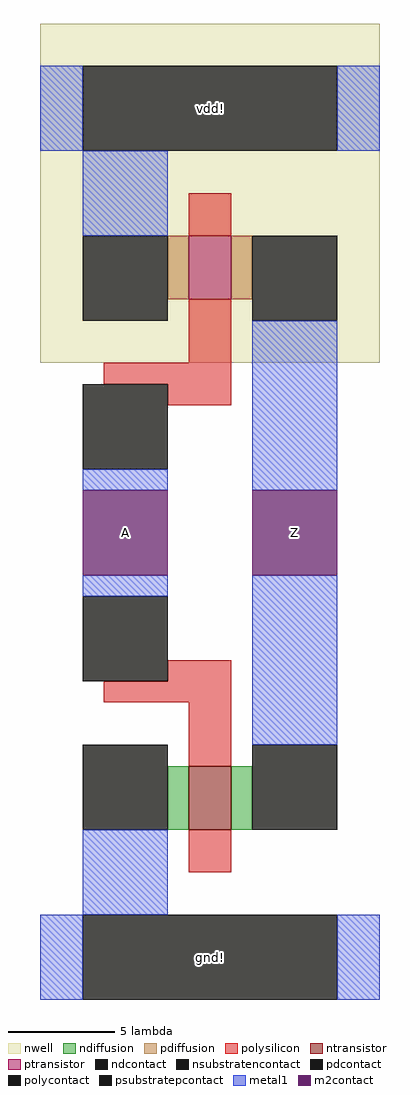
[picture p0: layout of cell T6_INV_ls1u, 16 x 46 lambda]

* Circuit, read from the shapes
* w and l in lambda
.subckt T6_INV_ls1u A Z gnd! vdd!
M1 Z A gnd! gnd! nfet w=3 l=2
M2 Z A vdd! vdd! pfet w=3 l=2
.ends

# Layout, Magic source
magic
tech ls1u
<< nwell >>
rect 0 32 16 48
<< polysilicon >>
rect 7 38 9 40
rect 7 32 9 35
rect 3 31 9 32
rect 6 30 9 31
rect 6 17 9 18
rect 3 16 9 17
rect 7 13 9 16
rect 7 8 9 10
<< ndiffusion >>
rect 6 10 7 13
rect 9 10 10 13
<< pdiffusion >>
rect 6 35 7 38
rect 9 35 10 38
<< metal1 >>
rect 0 42 2 46
rect 14 42 16 46
rect 2 38 6 42
rect 2 26 6 27
rect 2 21 6 22
rect 10 26 14 34
rect 10 14 14 22
rect 2 6 6 10
rect 0 2 2 6
rect 14 2 16 6
<< ntransistor >>
rect 7 10 9 13
<< ptransistor >>
rect 7 35 9 38
<< polycontact >>
rect 2 27 6 31
rect 2 17 6 21
<< ndcontact >>
rect 2 10 6 14
rect 10 10 14 14
<< pdcontact >>
rect 2 34 6 38
rect 10 34 14 38
<< m2contact >>
rect 2 22 6 26
rect 10 22 14 26
<< psubstratepcontact >>
rect 2 2 14 6
<< nsubstratencontact >>
rect 2 42 14 46
<< labels >>
rlabel m2contact 10 22 14 26 1 Z
rlabel nsubstratencontact 2 42 14 46 5 vdd!
rlabel m2contact 2 22 6 26 3 A
rlabel psubstratepcontact 2 2 14 6 1 gnd!
<< end >>
